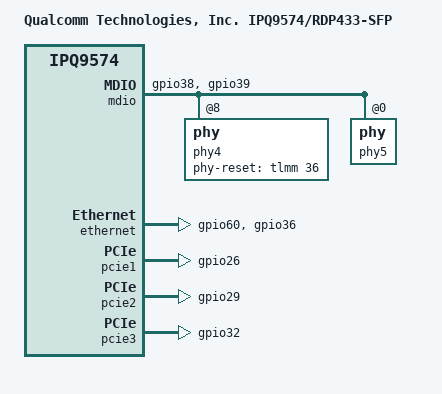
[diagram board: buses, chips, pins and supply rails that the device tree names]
// SPDX-License-Identifier: GPL-2.0-only
/*
 * Copyright (c) Qualcomm Technologies, Inc. and/or its subsidiaries.
 */

/dts-v1/;

#include "ipq9574-rdp-common.dtsi"

/ {
	model = "Qualcomm Technologies, Inc. IPQ9574/RDP433-SFP";
	compatible = "qcom,ipq9574-rdp433-sfp", "qcom,ipq9574";

	soc@0 {
		mdio: mdio@90000 {
			pinctrl-names = "default";
			pinctrl-0 = <&mdio_pinmux>;
			status = "okay";

			phy4: phy@8 {
				phy-reset-gpio = <&tlmm 36 0>;
				phy_addr = <8>;
				phy_type = <AQ_PHY_TYPE>;
				phy-mode = "usxgmii";
				id = <5>;
				uniphy_id = <1>;
				uniphy_type = <1>;
				xgmac;
			};

			phy5: phy@0 {
				phy_addr = <0>;
				phy_type = <AQ_PHY_TYPE>;
				phy-mode = "usxgmii";
				id = <6>;
				uniphy_id = <2>;
				uniphy_type = <0>;
				xgmac;
			};
		};

		ethernet: nss-switch {
			pinctrl-names = "default";
			pinctrl-0 = <&phy_rst_pinmux>;
			phy-handle0 = <&phy0>;
			phy-handle1 = <&phy4>;
			phy-handle2 = <&phy5>;
			tdm_mode = <1>;
			status = "okay";

			phy0: phy@ff {
				phy_addr = <0xFF>;
				phy_type = <SFP10G_PHY_TYPE>;
				id = <1>;
				uniphy_id = <0>;
				uniphy_type = <0>;
				max_speed = <10000>;
				xgmac;
			};
		};

		pcie1: pci@10000000 {
			pinctrl-names = "default";
			pinctrl-0 = <&pci1_pin>;
			status = "okay";
			perst-gpios = <&tlmm 26 GPIO_ACTIVE_LOW>;
		};

		pcie2: pci@20000000 {
			pinctrl-names = "default";
			pinctrl-0 = <&pci2_pin>;
			status = "okay";
			perst-gpios = <&tlmm 29 GPIO_ACTIVE_LOW>;
		};

		pcie3: pci@18000000 {
			pinctrl-names = "default";
			pinctrl-0 = <&pci3_pin>;
			status = "okay";
			perst-gpios = <&tlmm 32 GPIO_ACTIVE_LOW>;
		};
	};
};

&tlmm {
	mdio_pinmux: mdio {
		mdc {
			pins = "gpio38";
			function = "mdc";
			drive-strength = <8>;
			bias-disable;
		};

		mdio {
			pins = "gpio39";
			function = "mdio";
			drive-strength = <8>;
			bias-pull-up;
		};
	};

	phy_rst_pinmux: phy_rst {
		qti_8085_rst {
			pins = "gpio60";
			drive-strength = <8>;
			bias-pull-up;
		};

		qti_aquantia_rst {
			pins = "gpio36";
			drive-strength = <8>;
			bias-pull-up;
		};
	};

	pci1_pin: pci1-default-state {
		pins = "gpio26";
		function = "gpio";
		drive-strength = <8>;
		bias-pull-up;
		output-low;
	};

	pci2_pin: pci2-default-state {
		pins = "gpio29";
		function = "gpio";
		drive-strength = <8>;
		bias-pull-down;
		output-low;
	};

	pci3_pin: pci3-default-state {
		pins = "gpio32";
		function = "gpio";
		drive-strength = <8>;
		bias-pull-up;
		output-low;
	};
};
